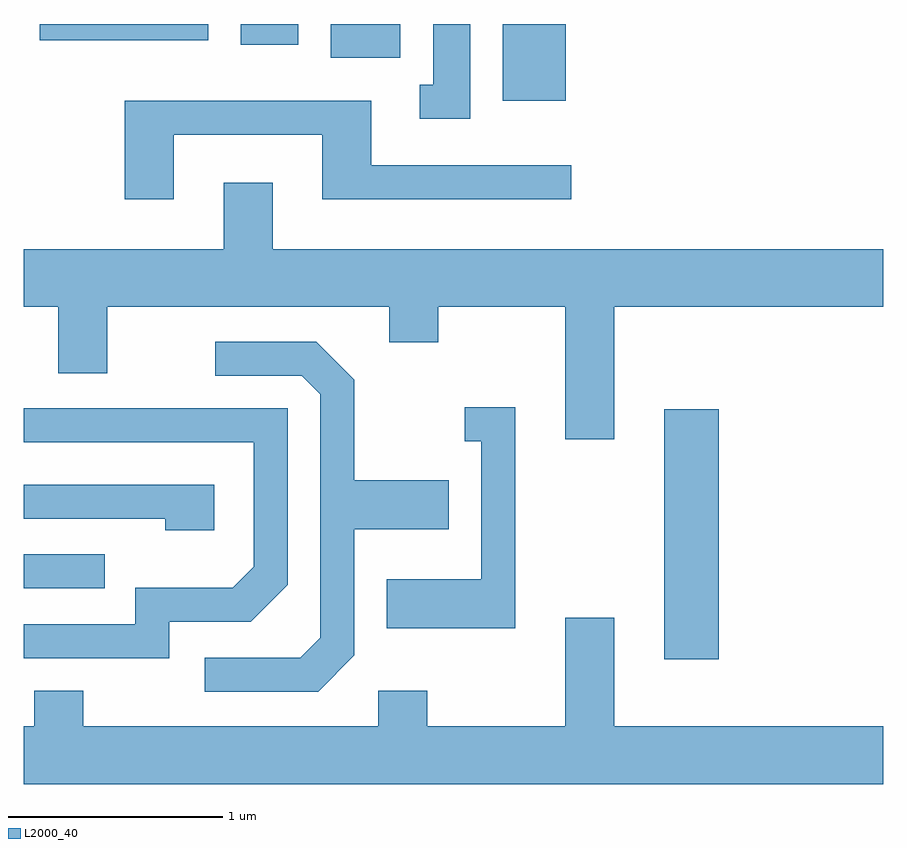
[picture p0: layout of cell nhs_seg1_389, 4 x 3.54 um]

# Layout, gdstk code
import gdstk
lib = gdstk.Library(unit=1e-6, precision=1e-09)
def R(c, l, rs):  # rectangles x0, y0, x1, y1
    for r in rs: c.add(gdstk.rectangle(r[:2], r[2:], *l))
def P(c, l, *ps):  # polygons
    for p in ps: c.add(gdstk.Polygon(p, *l))
L2000_40 = (2000, 40)

nhs_seg1_389 = lib.new_cell('nhs_seg1_389')
R(nhs_seg1_389, L2000_40, [(198.591,966.756,198.844,967.919), (195.611,967.086,195.988,967.244), (197.841,969.356,198.134,969.712), (197.041,969.556,197.364,969.712), (196.621,969.616,196.889,969.712), (195.686,969.636,196.469,969.712)])
P(nhs_seg1_389, L2000_40, [(197.689,969.712),(197.516,969.712),(197.516,969.429),(197.453,969.429),(197.453,969.271),(197.689,969.271)],
  [(196.309,969.196),(197.001,969.196),(197.001,968.896),(198.158,968.896),(198.158,969.054),(197.229,969.054),(197.229,969.354),(196.081,969.354),(196.081,968.896),(196.309,968.896)],
  [(198.359,968.396),(199.611,968.396),(199.611,968.664),(196.769,968.664),(196.769,968.974),(196.541,968.974),(196.541,968.664),(195.611,968.664),(195.611,968.396),(195.771,968.396),(195.771,968.086),(195.999,968.086),(195.999,968.396),(197.311,968.396),(197.311,968.231),(197.539,968.231),(197.539,968.396),(198.131,968.396),(198.131,967.781),(198.359,967.781)],
  [(197.149,966.774),(197.149,967.361),(197.589,967.361),(197.589,967.589),(197.149,967.589),(197.149,968.057),(196.972,968.234),(196.503,968.234),(196.503,968.076),(196.904,968.076),(196.991,967.989),(196.991,966.857),(196.899,966.764),(196.453,966.764),(196.453,966.606),(196.982,966.606)],
  [(197.899,967.929),(197.663,967.929),(197.663,967.771),(197.741,967.771),(197.741,967.129),(197.301,967.129),(197.301,966.901),(197.899,966.901)],
  [(196.289,966.931),(196.667,966.931),(196.839,967.104),(196.839,967.924),(195.611,967.924),(195.611,967.766),(196.681,967.766),(196.681,967.187),(196.584,967.089),(196.131,967.089),(196.131,966.919),(195.611,966.919),(195.611,966.761),(196.289,966.761)],
  [(196.499,967.569),(195.611,967.569),(195.611,967.411),(196.271,967.411),(196.271,967.356),(196.499,967.356)],
  [(199.611,966.444),(198.359,966.444),(198.359,966.949),(198.131,966.949),(198.131,966.444),(197.489,966.444),(197.489,966.609),(197.261,966.609),(197.261,966.444),(195.889,966.444),(195.889,966.609),(195.661,966.609),(195.661,966.444),(195.611,966.444),(195.611,966.176),(199.611,966.176)])

lib.write_gds('nhs_seg1_389.gds')
